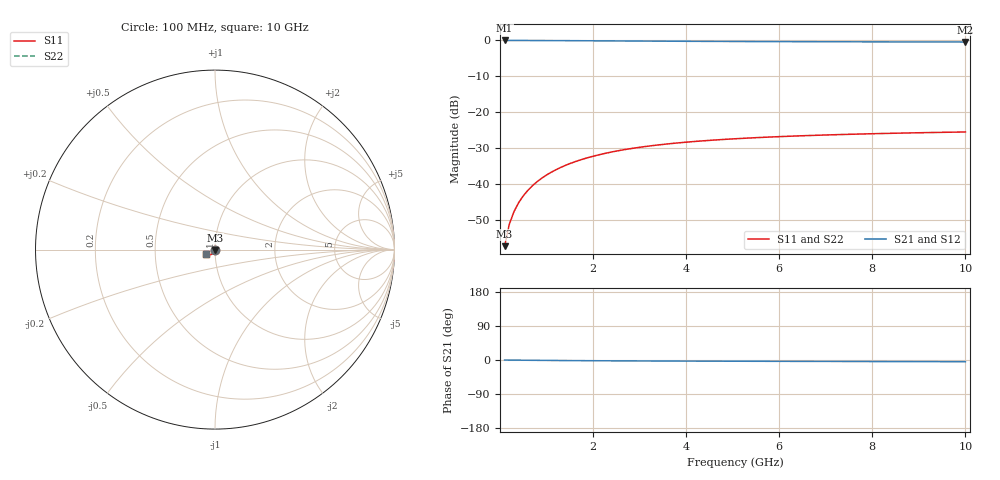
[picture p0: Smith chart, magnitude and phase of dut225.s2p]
! Touchstone file exported from HFSS 2024.1.0
!  File:  C:/UserFiles/LocalFiles/RDL_TSV_Batchsim/temp_TSV1_225_1778758647.aedt
!  Generated:  07:43:07 PM May 14, 2026
!  Design:  TSV1
!  Project:  temp_TSV1_225_1778758647
!  Setup:  Setup1
!  Solution:  Sweep
! Variables:
!  dtsv = 12.83um
!  hbump = 3um
!  htsv = 67.44um
!  lrdl = 252.1521522um
!  p = 40
!  p1 = 42.05um
!  t = 500um
!  trdl = 3um
!  wrdl = 24.89489489um
# GHz S MA R 50.000000
! Terminal data exported
! Port[1] = TSV22_T1
! Port[2] = TSV22_T2
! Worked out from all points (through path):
!   100 points, 100 MHz to 10 GHz, reference 50 ohm
!   highest |S21| = 0.00 dB at 100 MHz (marker M1); lowest = -0.4 dB at 10 GHz (marker M2)
!   lowest |S11| = -57.2 dB at 100 MHz (marker M3), VSWR 1.00, Z = 50 - j0.138 ohm
!   |S11| at or under -10 dB: start of sweep to end of sweep
!   |S22| runs from -57.2 to -25.4 dB; largest |S21 - S12| = 3.1e-15
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0.1  0.001384 -88.0  0.9999 -0.1  0.9999 -0.1  0.001384 -88.0
! Gamma 0 0 0 0
! Port Impedance 50 0 50 0
0.2  0.002774 -90.9  0.9998 -0.2  0.9998 -0.2  0.002774 -90.9
0.3  0.004163 -93.0  0.9996 -0.3  0.9996 -0.3  0.004163 -93.0
0.4  0.005544 -94.8  0.9993 -0.5  0.9993 -0.5  0.005544 -94.8
0.5  0.006913 -96.4  0.999 -0.6  0.999 -0.6  0.006913 -96.4
0.6  0.008266 -98.0  0.9986 -0.7  0.9986 -0.7  0.008266 -98.0
0.7  0.009602 -99.5  0.9982 -0.8  0.9982 -0.8  0.009602 -99.5
0.8  0.01092 -101.0  0.9977 -0.9  0.9977 -0.9  0.01092 -101.0
0.9  0.01221 -102.4  0.9971 -1.0  0.9971 -1.0  0.01221 -102.4
1.1  0.01472 -105.2  0.9958 -1.2  0.9958 -1.2  0.01472 -105.2
1.4  0.01828 -109.2  0.9937 -1.4  0.9937 -1.4  0.01828 -109.2
1.6  0.02051 -111.7  0.9921 -1.6  0.9921 -1.6  0.02051 -111.7
1.8  0.02261 -114.1  0.9905 -1.8  0.9905 -1.8  0.02261 -114.1
2.1  0.02553 -117.5  0.988 -2.0  0.988 -2.0  0.02553 -117.5
2.5  0.029 -121.5  0.9847 -2.2  0.9847 -2.2  0.029 -121.5
2.9  0.03204 -125.2  0.9815 -2.4  0.9815 -2.4  0.03204 -125.2
3.4  0.03531 -129.2  0.9778 -2.7  0.9778 -2.7  0.03531 -129.2
4.2  0.03953 -134.5  0.9724 -3.0  0.9724 -3.0  0.03953 -134.5
5.1  0.0432 -139.3  0.9673 -3.3  0.9673 -3.3  0.0432 -139.3
6.7  0.04787 -145.8  0.9605 -3.7  0.9605 -3.7  0.04787 -145.8
8.4  0.05123 -150.7  0.9554 -4.1  0.9554 -4.1  0.05123 -150.7
10  0.05347 -154.3  0.9519 -4.5  0.9519 -4.5  0.05347 -154.3
